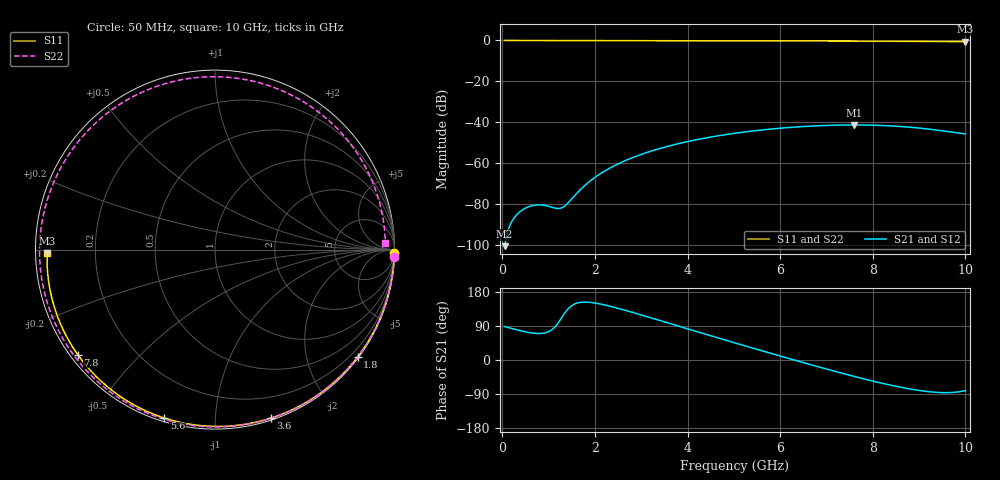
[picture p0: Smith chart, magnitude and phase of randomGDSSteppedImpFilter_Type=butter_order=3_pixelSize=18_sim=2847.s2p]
! freq	dB(S11)	phase(S11)	dB(S12)	phase(S12)
!  dB(S21)	phase(S21)	dB(S22)	phase(S22)
!S-par simulation data
#  GHz  S  DB  R 50
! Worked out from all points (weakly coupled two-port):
!   200 points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, 50 MHz to 10 GHz, reference 50 ohm
!   highest |S21| = -41.33 dB at 7.6 GHz (marker M1); lowest = -100.6 dB at 50 MHz (marker M2)
!   lowest |S11| = -0.6 dB at 10 GHz (marker M3), VSWR 29.95, Z = 1.67 - j0.501 ohm
!   |S11| at or under -10 dB: nowhere
!   |S22| runs from -0.4 to 0.0 dB; largest |S21 - S12| = 0
!   S11 on the Smith chart (normalised r, x): 50 MHz: open; 1.8 GHz: 0.03, -2.99; 3.6 GHz: 0.02, -1.39; 5.6 GHz: 0.02, -0.74; 7.8 GHz: 0.02, -0.34; 10 GHz: 0.03, -0.01
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0.05  -0.00 -1.1  -100.61 88.3  -100.61 88.3  -0.00 -2.5
0.65  -0.02 -13.5  -80.79 71.1  -80.79 71.1  -0.04 -31.5
1.05  -0.03 -21.8  -81.44 78.3  -81.44 78.3  -0.06 -50.2
1.4  -0.04 -28.9  -79.90 132.2  -79.90 132.2  -0.08 -65.8
1.75  -0.05 -36.0  -71.57 152.7  -71.57 152.7  -0.09 -80.6
1.8  -0.05 -37.0  -70.55 152.8  -70.55 152.8  -0.10 -82.6
2.1  -0.06 -42.9  -65.42 148.2  -65.42 148.2  -0.11 -94.6
2.45  -0.06 -49.8  -60.92 138.0  -60.92 138.0  -0.12 -107.9
2.95  -0.08 -59.4  -56.13 120.7  -56.13 120.7  -0.13 -125.7
3.4  -0.09 -67.9  -52.84 104.3  -52.84 104.3  -0.15 -140.8
3.6  -0.10 -71.6  -51.61 96.9  -51.61 96.9  -0.16 -147.3
4.3  -0.12 -84.3  -48.07 71.3  -48.07 71.3  -0.18 -169.1
5.05  -0.15 -97.4  -45.30 44.1  -45.30 44.1  -0.22 168.4
5.6  -0.18 -106.7  -43.78 24.6  -43.78 24.6  -0.24 151.9
6.15  -0.21 -115.9  -42.63 5.2  -42.63 5.2  -0.27 135.2
6.7  -0.24 -124.8  -41.84 -13.7  -41.84 -13.7  -0.29 118.1
7.15  -0.27 -132.1  -41.46 -28.8  -41.46 -28.8  -0.31 103.6
7.6  -0.31 -139.4  -41.33 -43.4  -41.33 -43.4  -0.33 88.7
7.8  -0.33 -142.6  -41.36 -49.6  -41.36 -49.6  -0.33 81.9
8.35  -0.38 -151.4  -41.75 -65.5  -41.75 -65.5  -0.35 62.7
9.25  -0.48 -166.1  -43.46 -84.1  -43.46 -84.1  -0.39 30.1
10  -0.58 -178.9  -45.72 -80.8  -45.72 -80.8  -0.45 2.4
